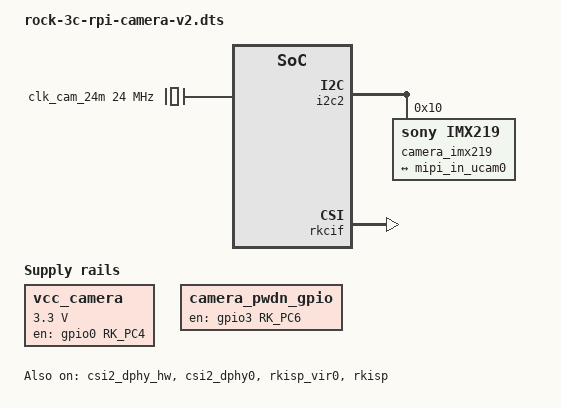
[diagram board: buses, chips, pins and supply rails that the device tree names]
/dts-v1/;
/plugin/;

#include <dt-bindings/gpio/gpio.h>
#include <dt-bindings/pinctrl/rockchip.h>


/ {
	metadata {
		title = "Enable Raspberry Pi Camera v2";
		compatible = "radxa,rock-3c";
		category = "camera";
		exclusive = "csi2_dphy0";
		description = "Enable Raspberry Pi Camera v2";
	};
};

&{/} {
	clk_cam_24m: external-camera-clock-24m {
		status = "okay";
		compatible = "fixed-clock";
		clock-frequency = <24000000>;
		clock-output-names = "clk_cam_24m";
		#clock-cells = <0>;
	};

	vcc_camera: vcc-camera {
		status = "okay";
		compatible = "regulator-fixed";
		regulator-name = "vcc_camera";
		gpio = <&gpio0 RK_PC4 GPIO_ACTIVE_HIGH>;
		enable-active-high;
		regulator-min-microvolt = <3300000>;
		regulator-max-microvolt = <3300000>;
		regulator-always-on;
		regulator-boot-on;
	};

	camera_pwdn_gpio: camera-pwdn-gpio {
		status = "okay";
		compatible = "regulator-fixed";
		regulator-name = "camera_pwdn_gpio";
		regulator-always-on;
		regulator-boot-on;
		enable-active-high;
		gpio = <&gpio3 RK_PC6 GPIO_ACTIVE_HIGH>;
	};
};

&i2c2 {
	status = "okay";
	pinctrl-names = "default";
	pinctrl-0 = <&i2c2m1_xfer>;
	#address-cells = <1>;
	#size-cells = <0>;

	camera_imx219: camera-imx219@10 {
		status = "okay";
		compatible = "sony,imx219";
		reg = <0x10>;
		clocks = <&clk_cam_24m>;
		clock-names = "xvclk";
		rockchip,camera-module-index = <0>;
		rockchip,camera-module-facing = "back";
		rockchip,camera-module-name = "rpi-camera-v2";
		rockchip,camera-module-lens-name = "default";

		port {
			ucam_out0: endpoint {
				remote-endpoint = <&mipi_in_ucam0>;
				data-lanes = <1 2>;
			};
		};
	};
};

&csi2_dphy_hw {
	status = "okay";
};

&csi2_dphy0 {
	status = "okay";

	ports {
		#address-cells = <1>;
		#size-cells = <0>;

		port@0 {
			reg = <0>;
			#address-cells = <1>;
			#size-cells = <0>;

			mipi_in_ucam0: endpoint@1 {
				reg = <1>;
				remote-endpoint = <&ucam_out0>;
				data-lanes = <1 2>;
			};
		};

		port@1 {
			reg = <1>;
			#address-cells = <1>;
			#size-cells = <0>;

			dphy0_out: endpoint@1 {
				reg = <1>;
				remote-endpoint = <&isp0_in>;
			};
		};
	};
};

&rkisp_vir0 {
	status = "okay";

	port {
		#address-cells = <1>;
		#size-cells = <0>;

		isp0_in: endpoint@0 {
			reg = <0>;
			remote-endpoint = <&dphy0_out>;
		};
	};
};

&rkisp {
	status = "okay";
};

&rkisp_mmu {
	status = "okay";
};

&rkcif_mmu {
	status = "okay";
};

&rkcif {
	status = "okay";
};
